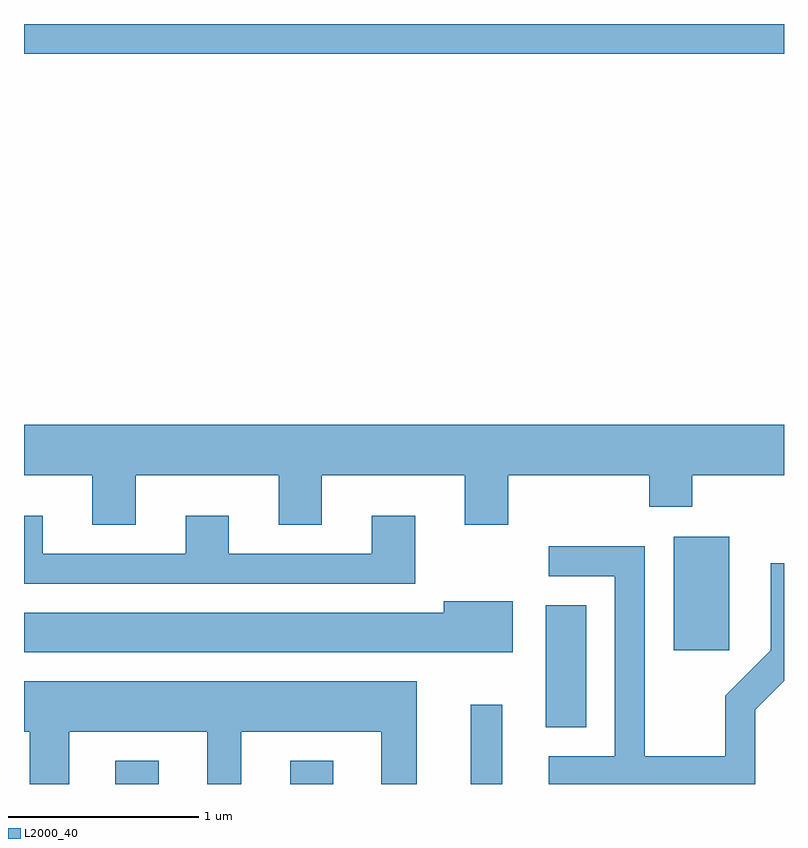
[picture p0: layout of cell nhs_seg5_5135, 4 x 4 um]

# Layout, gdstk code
import gdstk
lib = gdstk.Library(unit=1e-6, precision=1e-09)
def R(c, l, rs):  # rectangles x0, y0, x1, y1
    for r in rs: c.add(gdstk.rectangle(r[:2], r[2:], *l))
def P(c, l, *ps):  # polygons
    for p in ps: c.add(gdstk.Polygon(p, *l))
L2000_40 = (2000, 40)

nhs_seg5_5135 = lib.new_cell('nhs_seg5_5135')
R(nhs_seg5_5135, L2000_40, [(338.091,1444.072,338.319,1444.194), (339.011,1444.072,339.239,1444.194), (339.961,1444.072,340.129,1444.488), (340.356,1444.371,340.569,1445.014), (341.031,1444.776,341.324,1445.374), (337.611,1447.916,341.611,1448.072)])
P(nhs_seg5_5135, L2000_40, [(338.199,1445.696),(338.951,1445.696),(338.951,1445.436),(339.179,1445.436),(339.179,1445.696),(339.931,1445.696),(339.931,1445.436),(340.159,1445.436),(340.159,1445.696),(340.901,1445.696),(340.901,1445.531),(341.129,1445.531),(341.129,1445.696),(341.611,1445.696),(341.611,1445.964),(337.611,1445.964),(337.611,1445.696),(337.971,1445.696),(337.971,1445.436),(338.199,1445.436)],
  [(339.669,1445.484),(339.441,1445.484),(339.441,1445.284),(338.689,1445.284),(338.689,1445.484),(338.461,1445.484),(338.461,1445.284),(337.709,1445.284),(337.709,1445.484),(337.611,1445.484),(337.611,1445.126),(339.669,1445.126)],
  [(341.459,1444.464),(341.611,1444.616),(341.611,1445.233),(341.541,1445.233),(341.541,1444.777),(341.301,1444.537),(341.301,1444.219),(340.879,1444.219),(340.879,1445.324),(340.373,1445.324),(340.373,1445.166),(340.721,1445.166),(340.721,1444.219),(340.373,1444.219),(340.373,1444.072),(341.459,1444.072)],
  [(340.184,1445.034),(339.821,1445.034),(339.821,1444.974),(337.611,1444.974),(337.611,1444.766),(340.184,1444.766)],
  [(337.849,1444.346),(338.576,1444.346),(338.576,1444.072),(338.754,1444.072),(338.754,1444.346),(339.491,1444.346),(339.491,1444.072),(339.679,1444.072),(339.679,1444.614),(337.611,1444.614),(337.611,1444.346),(337.641,1444.346),(337.641,1444.072),(337.849,1444.072)])

lib.write_gds('nhs_seg5_5135.gds')
